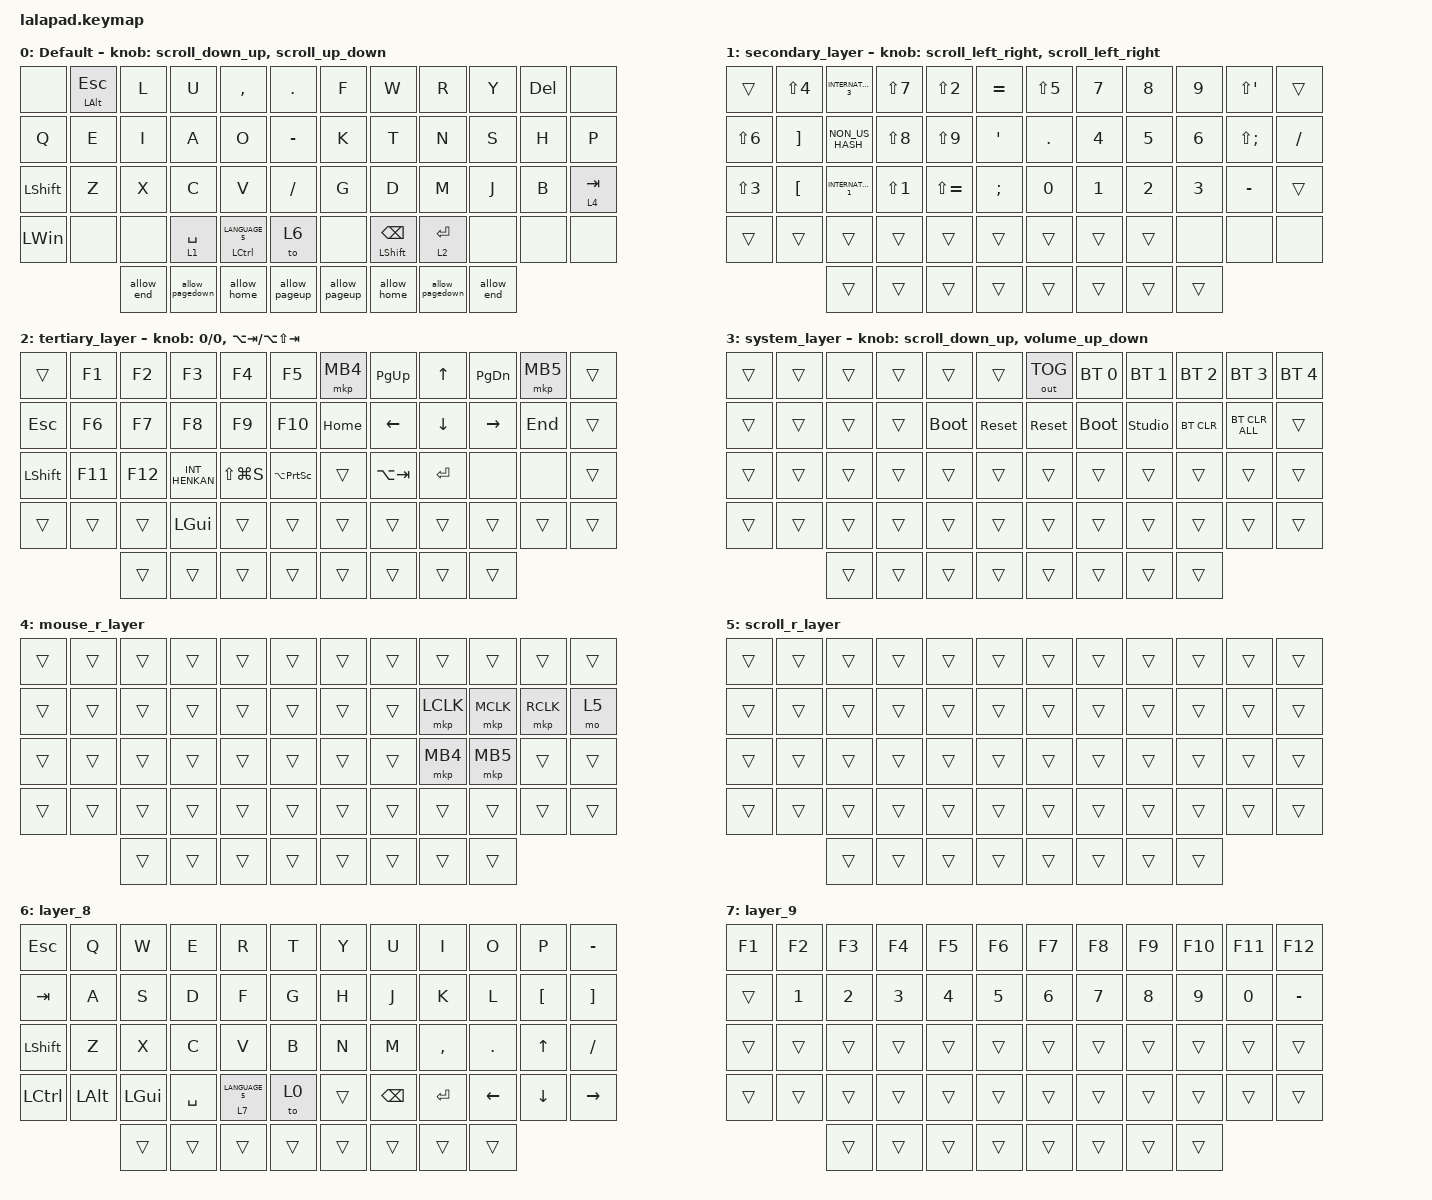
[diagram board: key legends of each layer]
#include <input/processors.dtsi>
#include <behaviors.dtsi>
#include <dt-bindings/zmk/bt.h>
#include <dt-bindings/zmk/keys.h>
#include <dt-bindings/zmk/outputs.h>
#include <dt-bindings/zmk/pointing.h>

#define DEFAULT_LAYER   0
#define SECONDARY_LAYER 1
#define TERTIARY_LAYER  2
#define SYSTEM_LAYER    3
#define MOUSE_R_LAYER   4
#define SCROLL_R_LAYER  5
#define MOUSE_L_LAYER   6
#define SCROLL_L_LAYER  7

// Mouse Scroll Value

#define ZMK_POINTING_DEFAULT_SCRL_VAL 100

// cirque trackpad input&layer control

&glidepoint_listener_R {
    input-processors =
        <&zip_xy_transform (INPUT_TRANSFORM_XY_SWAP | INPUT_TRANSFORM_X_INVERT | INPUT_TRANSFORM_Y_INVERT)>,
        <&zip_xy_scaler 3 2>,
        <&zip_temp_layer MOUSE_R_LAYER 500>;

    lowspeedmode {
        layers = <SECONDARY_LAYER>;
        input-processors =
            <&zip_xy_transform (INPUT_TRANSFORM_XY_SWAP | INPUT_TRANSFORM_X_INVERT | INPUT_TRANSFORM_Y_INVERT)>,
            <&zip_xy_scaler 3 5>,
            <&zip_temp_layer MOUSE_R_LAYER 500>;
    };

    scroller {
        layers = <SCROLL_R_LAYER>;
        input-processors =
            <&zip_xy_to_scroll_mapper>,
            <&zip_scroll_transform (INPUT_TRANSFORM_XY_SWAP | INPUT_TRANSFORM_Y_INVERT)>,
            <&zip_scroll_scaler 1 8>;
    };
};

&glidepoint_listener_L {
    input-processors =
        <&zip_xy_transform (INPUT_TRANSFORM_XY_SWAP | INPUT_TRANSFORM_X_INVERT | INPUT_TRANSFORM_Y_INVERT)>,
        <&zip_xy_scaler 3 2>,
        <&zip_temp_layer MOUSE_L_LAYER 500>;

    lowspeedmode {
        layers = <SECONDARY_LAYER>;
        input-processors =
            <&zip_xy_transform (INPUT_TRANSFORM_XY_SWAP | INPUT_TRANSFORM_X_INVERT | INPUT_TRANSFORM_Y_INVERT)>,
            <&zip_xy_scaler 3 4>,
            <&zip_temp_layer MOUSE_L_LAYER 500>;
    };

    scroller {
        layers = <SCROLL_L_LAYER>;
        input-processors =
            <&zip_xy_to_scroll_mapper>,
            <&zip_scroll_transform (INPUT_TRANSFORM_XY_SWAP | INPUT_TRANSFORM_Y_INVERT)>,
            <&zip_scroll_scaler 1 6>;
    };
};

/ {
    behaviors {
        // Encoder to Mouse Scroll

        scroll_up_down: sensor_scroll_up_down {
            compatible = "zmk,behavior-sensor-rotate";
            #sensor-binding-cells = <0>;
            bindings = <&msc SCRL_UP>, <&msc SCRL_DOWN>;

            tap-ms = <20>;
            label = "SCROLL_UP_DOWN";
        };

        scroll_down_up: sensor_scroll_down_up {
            compatible = "zmk,behavior-sensor-rotate";
            #sensor-binding-cells = <0>;
            bindings = <&msc SCRL_DOWN>, <&msc SCRL_UP>;

            tap-ms = <20>;
            label = "SCROLL_DOWN_UP";
        };

        scroll_left_right: sensor_scroll_left_right {
            compatible = "zmk,behavior-sensor-rotate";
            #sensor-binding-cells = <0>;
            bindings = <&msc SCRL_LEFT>, <&msc SCRL_RIGHT>;

            tap-ms = <20>;
            label = "SCROLL_LEFT_RIGHT";
        };

        scroll_right_left: sensor_scroll_right_left {
            compatible = "zmk,behavior-sensor-rotate";
            #sensor-binding-cells = <0>;
            bindings = <&msc SCRL_RIGHT>, <&msc SCRL_LEFT>;

            tap-ms = <20>;
            label = "SCROLL_RIGHT_LEFT";
        };

        volume_up_down: sensor_volume_up_down {
            compatible = "zmk,behavior-sensor-rotate";
            #sensor-binding-cells = <0>;
            bindings = <&kp C_VOLUME_UP>, <&kp C_VOLUME_DOWN>;

            tap-ms = <20>;
            label = "VOLUME_UP_DOWN";
        };

        dot_comma: dot_comma {
            compatible = "zmk,behavior-mod-morph";
            #binding-cells = <0>;
            bindings = <&kp KP_DOT>, <&kp COMMA>;

            mods = <(MOD_LSFT|MOD_RSFT)>;
            label = "DOT_COMMA";
        };

        pls_minus: pls_minus {
            compatible = "zmk,behavior-mod-morph";
            #binding-cells = <0>;
            bindings = <&kp PLUS>, <&kp MINUS>;

            mods = <(MOD_LSFT|MOD_RSFT)>;
            label = "PLS_MINUS";
        };

        allow_pageup: allow_pageup {
            compatible = "zmk,behavior-mod-morph";
            #binding-cells = <0>;
            bindings = <&kp UP>, <&kp PAGE_UP>;

            mods = <(MOD_LCTL|MOD_RCTL)>;
            label = "ALLOW_PAGEUP";
        };

        allow_pagedown: allow_pagedown {
            compatible = "zmk,behavior-mod-morph";
            #binding-cells = <0>;
            bindings = <&kp DOWN>, <&kp PAGE_DOWN>;

            mods = <(MOD_LCTL|MOD_RCTL)>;
            label = "ALLOW_PAGEDOWN";
        };

        allow_home: allow_home {
            compatible = "zmk,behavior-mod-morph";
            #binding-cells = <0>;
            bindings = <&kp LEFT>, <&kp HOME>;

            mods = <(MOD_LCTL|MOD_RCTL)>;
            label = "ALLOW_HOME";
        };

        allow_end: allow_end {
            compatible = "zmk,behavior-mod-morph";
            #binding-cells = <0>;
            bindings = <&kp RIGHT>, <&kp END>;

            mods = <(MOD_LCTL|MOD_RCTL)>;
            label = "ALLOW_END";
        };

        mt2: mod_tap2 {
            compatible = "zmk,behavior-hold-tap";
            #binding-cells = <2>;
            flavor = "tap-preferred";
            tapping-term-ms = <200>;
            quick-tap-ms = <200>;
            require-prior-idle-ms = <125>;
            bindings = <&kp>, <&kp>;
        };
    };

    keymap {
        compatible = "zmk,keymap";

        DEFAULT_LAYER {
            display-name = "Default";
            sensor-bindings = <&scroll_down_up>, <&scroll_up_down>;

            bindings = <
&none      &mt LEFT_ALT ESCAPE  &kp L       &kp U            &kp COMMA             &kp PERIOD     &kp F          &kp W                &kp R            &kp Y       &kp DELETE  &none
&kp Q      &kp E                &kp I       &kp A            &kp O                 &kp MINUS      &kp K          &kp T                &kp N            &kp S       &kp H       &kp P
&kp LSHFT  &kp Z                &kp X       &kp C            &kp V                 &kp SLASH      &kp G          &kp D                &kp M            &kp J       &kp B       &lt 4 TAB
&kp LWIN   &none                &none       &lt 1 SPACE      &mt LCTRL LANGUAGE_5  &to 6          &none          &mt LSHFT BACKSPACE  &lt 2 ENTER      &none       &none       &none
                                &allow_end  &allow_pagedown  &allow_home           &allow_pageup  &allow_pageup  &allow_home          &allow_pagedown  &allow_end
            >;
        };

        SECONDARY_LAYER {
            display-name = "secondary_layer";
            sensor-bindings = <&scroll_left_right>, <&scroll_left_right>;

            bindings = <
&trans            &kp LS(NUMBER_4)   &kp INTERNATIONAL_3  &kp LS(N7)        &kp LS(NUMBER_2)  &kp EQUAL      &kp LS(N5)    &kp NUMBER_7  &kp NUMBER_8  &kp NUMBER_9  &kp LS(SINGLE_QUOTE)  &trans
&kp LS(NUMBER_6)  &kp RIGHT_BRACKET  &kp NON_US_HASH      &kp LS(NUMBER_8)  &kp LS(N9)        &kp SQT        &kp PERIOD    &kp NUMBER_4  &kp NUMBER_5  &kp NUMBER_6  &kp LS(SEMICOLON)     &kp SLASH
&kp LS(NUMBER_3)  &kp LEFT_BRACKET   &kp INTERNATIONAL_1  &kp LS(NUMBER_1)  &kp LS(EQUAL)     &kp SEMICOLON  &kp NUMBER_0  &kp NUMBER_1  &kp NUMBER_2  &kp NUMBER_3  &kp MINUS             &trans
&trans            &trans             &trans               &trans            &trans            &trans         &trans        &trans        &trans        &none         &none                 &none
                                     &trans               &trans            &trans            &trans         &trans        &trans        &trans        &trans
            >;
        };

        TERTIARY_LAYER {
            display-name = "tertiary_layer";
            bindings = <
&trans      &kp F1   &kp F2   &kp F3          &kp F4         &kp F5               &mkp MB4  &kp PAGE_UP     &kp UP_ARROW    &kp PAGE_DOWN    &mkp MB5  &trans
&kp ESCAPE  &kp F6   &kp F7   &kp F8          &kp F9         &kp F10              &kp HOME  &kp LEFT_ARROW  &kp DOWN_ARROW  &kp RIGHT_ARROW  &kp END   &trans
&kp LSHFT   &kp F11  &kp F12  &kp INT_HENKAN  &kp LS(LG(S))  &kp LA(PRINTSCREEN)  &trans    &kp LA(TAB)     &kp ENTER       &none            &none     &trans
&trans      &trans   &trans   &kp LGUI        &trans         &trans               &trans    &trans          &trans          &trans           &trans    &trans
                     &trans   &trans          &trans         &trans               &trans    &trans          &trans          &trans
            >;

            sensor-bindings =
                <&inc_dec_kp 0 0>,
                <&inc_dec_kp LA(TAB) LA(LS(TAB))>;
        };

        SYSTEM_LAYER {
            display-name = "system_layer";
            sensor-bindings = <&scroll_down_up>, <&volume_up_down>;

            bindings = <
&trans  &trans  &trans  &trans  &trans       &trans      &out OUT_TOG  &bt BT_SEL 0  &bt BT_SEL 1    &bt BT_SEL 2  &bt BT_SEL 3    &bt BT_SEL 4
&trans  &trans  &trans  &trans  &bootloader  &sys_reset  &sys_reset    &bootloader   &studio_unlock  &bt BT_CLR    &bt BT_CLR_ALL  &trans
&trans  &trans  &trans  &trans  &trans       &trans      &trans        &trans        &trans          &trans        &trans          &trans
&trans  &trans  &trans  &trans  &trans       &trans      &trans        &trans        &trans          &trans        &trans          &trans
                &trans  &trans  &trans       &trans      &trans        &trans        &trans          &trans
            >;
        };

        MOUSE_R_LAYER {
            display-name = "mouse_r_layer";
            bindings = <
&trans  &trans  &trans  &trans  &trans  &trans  &trans  &trans  &trans     &trans     &trans     &trans
&trans  &trans  &trans  &trans  &trans  &trans  &trans  &trans  &mkp LCLK  &mkp MCLK  &mkp RCLK  &mo 5
&trans  &trans  &trans  &trans  &trans  &trans  &trans  &trans  &mkp MB4   &mkp MB5   &trans     &trans
&trans  &trans  &trans  &trans  &trans  &trans  &trans  &trans  &trans     &trans     &trans     &trans
                &trans  &trans  &trans  &trans  &trans  &trans  &trans     &trans
            >;
        };

        SCROLL_R_LAYER {
            display-name = "scroll_r_layer";
            bindings = <
&trans  &trans  &trans  &trans  &trans  &trans  &trans  &trans  &trans  &trans  &trans  &trans
&trans  &trans  &trans  &trans  &trans  &trans  &trans  &trans  &trans  &trans  &trans  &trans
&trans  &trans  &trans  &trans  &trans  &trans  &trans  &trans  &trans  &trans  &trans  &trans
&trans  &trans  &trans  &trans  &trans  &trans  &trans  &trans  &trans  &trans  &trans  &trans
                &trans  &trans  &trans  &trans  &trans  &trans  &trans  &trans
            >;
        };

        layer_8 {
            bindings = <
&kp ESC    &kp Q     &kp W     &kp E      &kp R             &kp T   &kp Y   &kp U     &kp I      &kp O     &kp P         &kp MINUS
&kp TAB    &kp A     &kp S     &kp D      &kp F             &kp G   &kp H   &kp J     &kp K      &kp L     &kp LBKT      &kp RBKT
&kp LSHFT  &kp Z     &kp X     &kp C      &kp V             &kp B   &kp N   &kp M     &kp COMMA  &kp DOT   &kp UP_ARROW  &kp FSLH
&kp LCTRL  &kp LALT  &kp LGUI  &kp SPACE  &lt 7 LANGUAGE_5  &to 0   &trans  &kp BSPC  &kp ENTER  &kp LEFT  &kp DOWN      &kp RIGHT
                     &trans    &trans     &trans            &trans  &trans  &trans    &trans     &trans
            >;
        };

        layer_9 {
            bindings = <
&kp F1  &kp F2        &kp F3  &kp F4  &kp F5  &kp F6  &kp F7  &kp F8  &kp F9  &kp F10  &kp F11  &kp F12
&trans  &kp NUMBER_1  &kp N2  &kp N3  &kp N4  &kp N5  &kp N6  &kp N7  &kp N8  &kp N9   &kp N0   &kp MINUS
&trans  &trans        &trans  &trans  &trans  &trans  &trans  &trans  &trans  &trans   &trans   &trans
&trans  &trans        &trans  &trans  &trans  &trans  &trans  &trans  &trans  &trans   &trans   &trans
                      &trans  &trans  &trans  &trans  &trans  &trans  &trans  &trans
            >;
        };
    };
};
